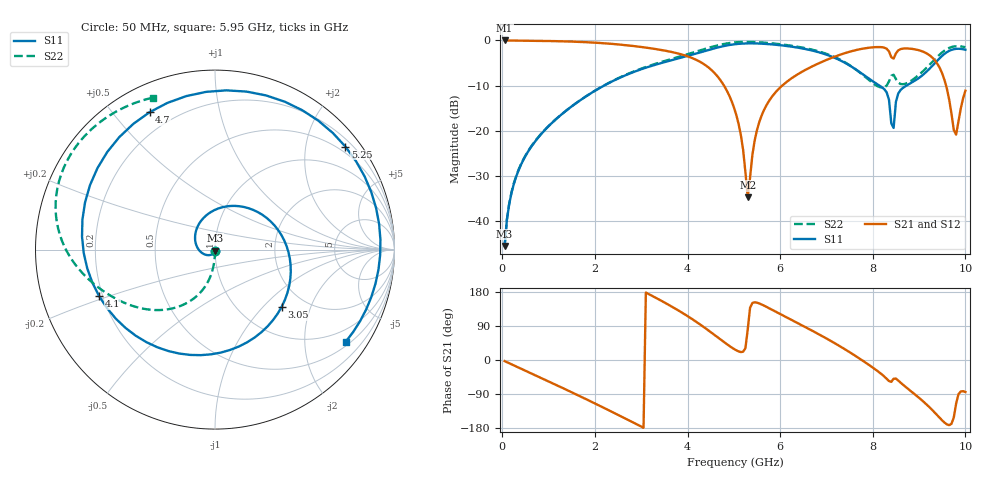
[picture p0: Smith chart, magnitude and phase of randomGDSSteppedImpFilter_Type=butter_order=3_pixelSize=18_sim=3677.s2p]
! freq	dB(S11)	phase(S11)	dB(S12)	phase(S12)
!  dB(S21)	phase(S21)	dB(S22)	phase(S22)
!S-par simulation data
#  GHz  S  DB  R 50
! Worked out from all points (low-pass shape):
!   200 points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, 50 MHz to 10 GHz, reference 50 ohm
!   highest |S21| = -0.01 dB at 50 MHz (marker M1); lowest = -34.7 dB at 5.3 GHz (marker M2)
!   |S21| within 3 dB of the highest: start of sweep to 3.838 GHz; 7.341 GHz to 8.372 GHz (1.031 GHz wide, 13.1 % of centre) (the widest 2 of 3)
!   lowest |S11| = -45.5 dB at 50 MHz (marker M3), VSWR 1.01, Z = 50 - j0.528 ohm
!   |S11| at or under -10 dB: start of sweep to 2.197 GHz; 8.144 GHz to 8.729 GHz (584.9 MHz wide, 6.93 % of centre)
!   |S22| runs from -45.6 to -0.3 dB; largest |S21 - S12| = 0
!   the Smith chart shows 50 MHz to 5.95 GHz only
!   S11 on the Smith chart (normalised r, x): 50 MHz: 1.00, -0.01; 3.05 GHz: 1.53, -1.28; 4.1 GHz: 0.19, -0.19; 4.7 GHz: 0.12, +0.63; 5.25 GHz: 0.35, +2.84; 5.95 GHz: 0.61, -3.04
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0.05  -45.53 -91.6  -0.01 -2.9  -0.01 -2.9  -45.55 -85.4
0.2  -33.70 -110.8  -0.02 -11.3  -0.02 -11.3  -33.57 -90.0
0.45  -26.55 -138.7  -0.05 -25.4  -0.05 -25.4  -26.43 -92.3
1.75  -12.77 85.5  -0.36 -99.9  -0.36 -99.9  -12.77 -106.6
3.05  -6.21 -40.6  -1.52 -178.8  -1.52 -178.8  -6.06 -137.9
3.4  -5.10 -76.1  -2.06 158.6  -2.06 158.6  -4.88 -147.6
4.1  -3.15 -158.2  -3.90 108.0  -3.90 108.0  -2.74 -167.5
4.7  -1.44 115.5  -8.66 55.3  -8.66 55.3  -0.97 170.2
5.05  -0.81 64.7  -16.40 25.8  -16.40 25.8  -0.41 153.9
5.25  -0.67 38.3  -29.16 31.3  -29.16 31.3  -0.32 144.4
5.3  -0.66 32.1  -34.75 80.6  -34.75 80.6  -0.32 142.0
5.5  -0.67 8.9  -19.82 151.3  -19.82 151.3  -0.38 132.7
5.95  -1.00 -35.3  -10.93 124.5  -10.93 124.5  -0.78 112.1
6.7  -2.26 -93.8  -5.71 76.8  -5.71 76.8  -2.07 74.6
7.75  -7.24 -163.0  -1.89 0.9  -1.89 0.9  -7.35 -4.1
8.35  -13.12 127.0  -2.43 -55.5  -2.43 -55.5  -9.09 -77.8
8.45  -19.38 -63.0  -4.02 -49.4  -4.02 -49.4  -7.59 -111.2
8.5  -13.57 -116.7  -2.86 -49.1  -2.86 -49.1  -8.56 -125.4
9  -8.29 143.3  -2.19 -99.9  -2.19 -99.9  -7.60 -171.0
9.4  -4.40 64.7  -5.26 -146.8  -5.26 -146.8  -3.56 159.5
9.8  -1.86 -23.5  -20.85 -115.2  -20.85 -115.2  -1.29 117.8
10  -2.06 -60.2  -11.14 -84.5  -11.14 -84.5  -1.50 99.4
